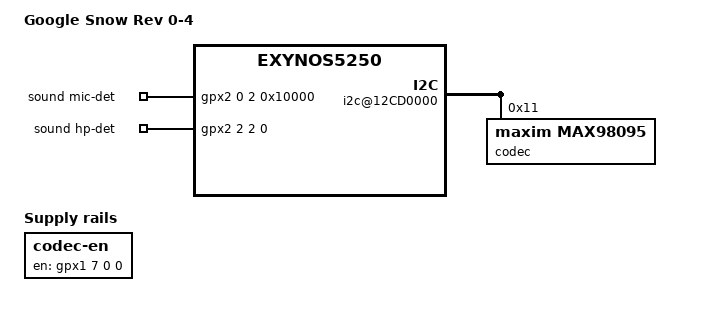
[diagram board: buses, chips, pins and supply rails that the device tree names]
/*
 * Google Snow Rev 0-4 board device tree source
 *
 * Copyright (c) 2012 Google, Inc
 *
 * This program is free software; you can redistribute it and/or modify
 * it under the terms of the GNU General Public License version 2 as
 * published by the Free Software Foundation.
 */

/dts-v1/;
/include/ "exynos5250.dtsi"
/include/ "cros5250-common.dtsi"
/include/ "exynos5250-snow.dtsi"

/ {
	model = "Google Snow Rev 0-4";

	/*
	 * Define with revisions this tree is compatible with.
	 * - Any real rev 0-3 boards in the field will match "google,snow",
	 *   since older U-Boots don't look for a revision specific device tree.
	 * - Any real rev 4 boards in the field will match "google,snow-rev4"
	 *   first.  If that's not present they will pick the first
	 *   "google,snow" device tree that they find (ignoring the kernel
	 *   ordering).
	 * - We put an ugly "google,snow-any" here to provide the kernel a way
	 *   to test for any snow device.
	 * - Note that revision here is logical revision (monotonically
	 *   increasing) which means it's not exactly what's read from board
	 *   strappings.
	 */
	compatible = "google,snow-rev4", "google,snow", "google,snow-any",
		"samsung,exynos5250";

	i2c@12CD0000 {
		codec {
			compatible = "maxim,max98095";
			reg = <0x11>;
			mic-left-digital;
			mic-right-digital;
			mclk-pin = <1>;
		};
	};

	sound {
		compatible = "google,daisy-audio-max98095";
		samsung,mic-det-gpios = <&gpx2 0 2 0x10000 0>;
		samsung,hp-det-gpios = <&gpx2 2 2 0 0>;
	};

	max98095-en {
		compatible = "regulator-fixed";
		regulator-name = "codec-en";
		gpio = <&gpx1 7 0 0 0>;
		enable-active-high;
		regulator-boot-on;
		regulator-always-on;
	};
};
